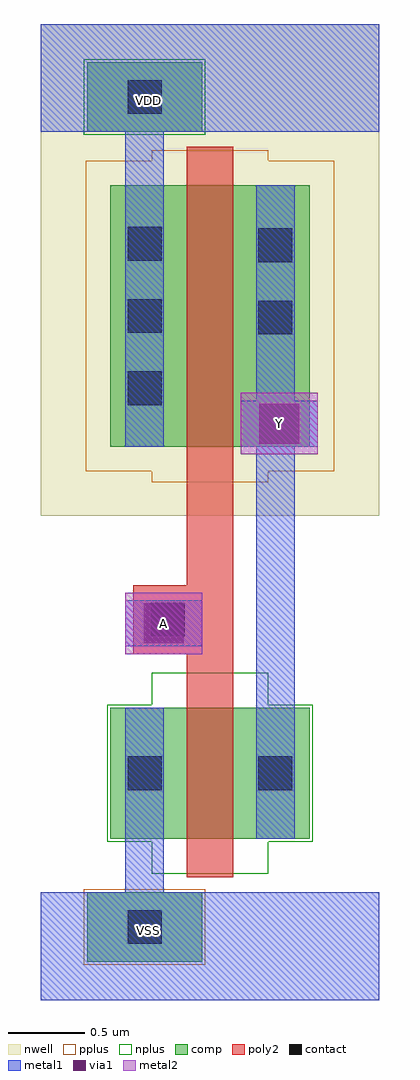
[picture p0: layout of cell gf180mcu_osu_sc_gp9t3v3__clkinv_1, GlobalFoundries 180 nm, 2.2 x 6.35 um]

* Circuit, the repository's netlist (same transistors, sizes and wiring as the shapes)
* Copyright 2022 Google LLC
*
* Licensed under the Apache License, Version 2.0 (the "License");
* you may not use this file except in compliance with the License.
* You may obtain a copy of the License at
*
*      http://www.apache.org/licenses/LICENSE-2.0
*
* Unless required by applicable law or agreed to in writing, software
* distributed under the License is distributed on an "AS IS" BASIS,
* WITHOUT WARRANTIES OR CONDITIONS OF ANY KIND, either express or implied.
* See the License for the specific language governing permissions and
* limitations under the License.

* NGSPICE file created from gf180mcu_osu_sc_gp9t3v3__clkinv_1.ext - technology: gf180mcuC

.subckt gf180mcu_osu_sc_gp9t3v3__clkinv_1 A Y VDD VSS
X0 Y A VDD VDD pfet_03p3 w=1.7u l=0.3u
X1 Y A VSS VSS nfet_03p3 w=0.85u l=0.3u
.ends

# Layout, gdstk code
import gdstk
lib = gdstk.Library(unit=1e-6, precision=1e-09)
def R(c, l, rs):  # rectangles x0, y0, x1, y1
    for r in rs: c.add(gdstk.rectangle(r[:2], r[2:], *l))
def A(c, l, x, y, w, h, nx, ny, dx, dy):  # array of equal rectangles
    R(c, l, [(x+i*dx, y+j*dy, x+i*dx+w, y+j*dy+h) for i in range(nx) for j in range(ny)])
nwell = (21, 0)
comp = (22, 0)
poly2 = (30, 0)
pplus = (31, 0)
nplus = (32, 0)
contact = (33, 0)
metal1 = (34, 0)
via1 = (35, 0)
metal2 = (36, 0)

gf180mcu_osu_sc_gp9t3v3_ = lib.new_cell('gf180mcu_osu_sc_gp9t3v3__clkinv_1')
R(gf180mcu_osu_sc_gp9t3v3_, nwell, [(0,3.15,2.2,6.35)])
R(gf180mcu_osu_sc_gp9t3v3_, comp, [(0.3,0.25,1.05,0.7), (0.45,1.05,1.75,1.9), (0.45,3.6,1.75,5.3), (0.3,5.65,1.05,6.1)])
R(gf180mcu_osu_sc_gp9t3v3_, poly2, [(0.95,0.8,1.25,2.25), (0.6,2.25,1.25,2.7), (0.95,2.7,1.25,5.55)])
R(gf180mcu_osu_sc_gp9t3v3_, pplus, [(0.28,0.23,1.07,0.72), (0.72,3.37,1.48,3.44), (0.29,3.44,1.91,5.46), (0.72,5.46,1.48,5.53)])
R(gf180mcu_osu_sc_gp9t3v3_, nplus, [(0.72,0.82,1.48,1.03), (0.43,1.03,1.77,1.92), (0.72,1.92,1.48,2.13), (0.28,5.63,1.07,6.12)])
A(gf180mcu_osu_sc_gp9t3v3_, contact, 0.565, 3.87, 0.22, 0.22, 1, 3, 0, 0.47)
R(gf180mcu_osu_sc_gp9t3v3_, contact, [(0.565,0.365,0.785,0.585), (0.565,1.365,0.785,1.585), (1.415,1.365,1.635,1.585), (0.715,2.365,0.935,2.585), (1.415,4.33,1.635,4.55), (1.415,4.8,1.635,5.02), (0.565,5.765,0.785,5.985)])
R(gf180mcu_osu_sc_gp9t3v3_, metal1, [(0,0,2.2,0.7), (0.55,0.7,0.8,1.9), (1.4,1.05,1.65,3.6), (0.55,2.3,1.05,2.6), (0.55,3.6,0.8,5.65), (1.3,3.6,1.8,3.9), (1.4,3.9,1.65,5.3), (0,5.65,2.2,6.35)])
R(gf180mcu_osu_sc_gp9t3v3_, via1, [(0.67,2.32,0.93,2.58), (1.42,3.62,1.68,3.88)])
R(gf180mcu_osu_sc_gp9t3v3_, metal2, [(0.55,2.25,1.05,2.65), (1.3,3.55,1.8,3.95)])
gf180mcu_osu_sc_gp9t3v3_.add(gdstk.Label('A', (0.8,2.45), layer=36, texttype=10))
gf180mcu_osu_sc_gp9t3v3_.add(gdstk.Label('Y', (1.55,3.75), layer=36, texttype=10))
gf180mcu_osu_sc_gp9t3v3_.add(gdstk.Label('VDD', (0.7,5.85), layer=34, texttype=10))
gf180mcu_osu_sc_gp9t3v3_.add(gdstk.Label('VSS', (0.7,0.45), layer=34, texttype=10))

lib.write_gds('gf180mcu_osu_sc_gp9t3v3__clkinv_1.gds')
